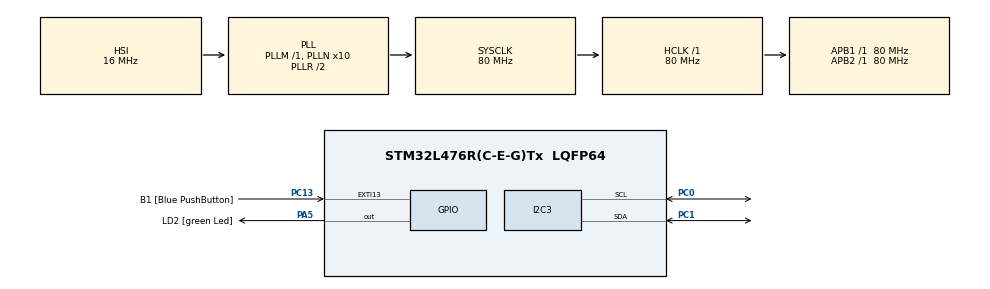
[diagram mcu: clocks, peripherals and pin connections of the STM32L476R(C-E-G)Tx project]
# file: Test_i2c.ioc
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Mcu.Family=STM32L4
Mcu.Name=STM32L476R(C-E-G)Tx
Mcu.Package=LQFP64
NVIC.PriorityGroup=NVIC_PRIORITYGROUP_4
PA13.GPIO_Label=TMS
PA13.Signal=SYS_JTMS-SWDIO
PA14.GPIO_Label=TCK
PA14.Signal=SYS_JTCK-SWCLK
PA2.GPIO_Label=USART_TX
PA2.GPIO_Mode=GPIO_MODE_AF_PP
PA2.GPIO_PuPd=GPIO_NOPULL
PA2.GPIO_Speed=GPIO_SPEED_FREQ_VERY_HIGH
PA2.Signal=USART2_TX
PA3.GPIO_Label=USART_RX
PA3.GPIO_Mode=GPIO_MODE_AF_PP
PA3.GPIO_PuPd=GPIO_NOPULL
PA3.GPIO_Speed=GPIO_SPEED_FREQ_VERY_HIGH
PA3.Signal=USART2_RX
PA5.GPIO_Label=LD2 [green Led]
PA5.GPIO_ModeDefaultOutputPP=GPIO_MODE_OUTPUT_PP
PA5.GPIO_PuPd=GPIO_NOPULL
PA5.GPIO_Speed=GPIO_SPEED_FREQ_LOW
PA5.Signal=GPIO_Output
PB3.GPIO_Label=SWO
PB3.Signal=SYS_JTDO-SWO
PC0.Mode=I2C
PC0.Signal=I2C3_SCL
PC1.Mode=I2C
PC1.Signal=I2C3_SDA
PC13.GPIO_Label=B1 [Blue PushButton]
PC13.GPIO_ModeDefaultEXTI=GPIO_MODE_IT_FALLING
PC13.GPIO_PuPd=GPIO_NOPULL
PC13.Signal=GPXTI13
PC14/OSC32_IN.Signal=RCC_OSC32_IN
PC15/OSC32_OUT.Signal=RCC_OSC32_OUT
PH0/OSC_IN.Signal=RCC_OSC_IN
PH1/OSC_OUT.Signal=RCC_OSC_OUT
ProjectManager.HeapSize=0x200
ProjectManager.StackSize=0x400
ProjectManager.TargetToolchain=SW4STM32
RCC.ADCFreq_Value=64000000
RCC.AHBFreq_Value=80000000
RCC.APB1Freq_Value=80000000
RCC.APB1TimFreq_Value=80000000
RCC.APB2Freq_Value=80000000
RCC.APB2TimFreq_Value=80000000
RCC.CortexFreq_Value=80000000
RCC.HCLKFreq_Value=80000000
RCC.HSE_VALUE=8000000
RCC.HSI_VALUE=16000000
RCC.LSE_VALUE=32768
RCC.MSI_VALUE=4000000
RCC.PLLN=10
RCC.PLLSourceVirtual=RCC_PLLSOURCE_HSI
RCC.PREFETCH_ENABLE=1
RCC.SYSCLKFreq_VALUE=80000000
RCC.SYSCLKSource=RCC_SYSCLKSOURCE_PLLCLK
RCC.USBFreq_Value=64000000
RCC.VCOOutputFreq_Value=160000000
board=NUCLEO-L476RG

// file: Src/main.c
/**
  ******************************************************************************
  * File Name          : main.c
  * Description        : Main program body
  ******************************************************************************
  *
  * COPYRIGHT(c) 2017 STMicroelectronics
  *
  * Redistribution and use in source and binary forms, with or without modification,
  * are permitted provided that the following conditions are met:
  *   1. Redistributions of source code must retain the above copyright notice,
  *      this list of conditions and the following disclaimer.
  *   2. Redistributions in binary form must reproduce the above copyright notice,
  *      this list of conditions and the following disclaimer in the documentation
  *      and/or other materials provided with the distribution.
  *   3. Neither the name of STMicroelectronics nor the names of its contributors
  *      may be used to endorse or promote products derived from this software
  *      without specific prior written permission.
  *
  * THIS SOFTWARE IS PROVIDED BY THE COPYRIGHT HOLDERS AND CONTRIBUTORS "AS IS"
  * AND ANY EXPRESS OR IMPLIED WARRANTIES, INCLUDING, BUT NOT LIMITED TO, THE
  * IMPLIED WARRANTIES OF MERCHANTABILITY AND FITNESS FOR A PARTICULAR PURPOSE ARE
  * DISCLAIMED. IN NO EVENT SHALL THE COPYRIGHT HOLDER OR CONTRIBUTORS BE LIABLE
  * FOR ANY DIRECT, INDIRECT, INCIDENTAL, SPECIAL, EXEMPLARY, OR CONSEQUENTIAL
  * DAMAGES (INCLUDING, BUT NOT LIMITED TO, PROCUREMENT OF SUBSTITUTE GOODS OR
  * SERVICES; LOSS OF USE, DATA, OR PROFITS; OR BUSINESS INTERRUPTION) HOWEVER
  * CAUSED AND ON ANY THEORY OF LIABILITY, WHETHER IN CONTRACT, STRICT LIABILITY,
  * OR TORT (INCLUDING NEGLIGENCE OR OTHERWISE) ARISING IN ANY WAY OUT OF THE USE
  * OF THIS SOFTWARE, EVEN IF ADVISED OF THE POSSIBILITY OF SUCH DAMAGE.
  *
  ******************************************************************************
  */
#include "main.h"
#include "stm32l4xx_hal.h"

I2C_HandleTypeDef hi2c3;

/* USER CODE BEGIN PV */
/* Private variables ---------------------------------------------------------*/

uint16_t address = 0x3C << 1;
// the memory buffer for the LCD

static char buffer[128 * 64 / 8] = {
0x00, 0x00, 0x00, 0x00, 0x00, 0x00, 0x00, 0x00, 0x00, 0x00, 0x00, 0x00, 0x00, 0x00, 0x00, 0x00,
0x00, 0x00, 0x00, 0x00, 0x00, 0x00, 0x00, 0x00, 0x00, 0x00, 0x00, 0x00, 0x00, 0x00, 0x00, 0x00,
0x00, 0x00, 0x00, 0x00, 0x00, 0x00, 0x00, 0x00, 0x00, 0x00, 0x00, 0x00, 0x00, 0x00, 0x00, 0x00,
0x00, 0x00, 0x00, 0x00, 0x00, 0x00, 0x00, 0x00, 0x00, 0x00, 0x00, 0x00, 0x00, 0x00, 0x00, 0x80,
0x80, 0x80, 0x00, 0x00, 0x00, 0x00, 0x00, 0x00, 0x00, 0x00, 0x00, 0x00, 0x00, 0x00, 0x00, 0x00,
0x00, 0x80, 0x80, 0xC0, 0xC0, 0x00, 0x00, 0x00, 0x00, 0x00, 0x00, 0x00, 0x00, 0x00, 0x00, 0x00,
0x00, 0x00, 0x00, 0x00, 0x00, 0x00, 0x00, 0x00, 0x00, 0x00, 0x00, 0x00, 0x00, 0x00, 0x00, 0x00,
0x00, 0x00, 0x00, 0x00, 0x00, 0x00, 0x00, 0x00, 0x00, 0x00, 0x00, 0x00, 0x00, 0x00, 0x00, 0x00,
0x00, 0x00, 0x00, 0x00, 0x00, 0x00, 0x00, 0x00, 0x00, 0x00, 0x00, 0x00, 0x00, 0x00, 0x00, 0x00,
0x00, 0x00, 0x00, 0x00, 0x80, 0xC0, 0xE0, 0xF0, 0xF8, 0xFC, 0xF8, 0xE0, 0x00, 0x00, 0x00, 0x00,
0x00, 0x00, 0x00, 0x00, 0x00, 0x00, 0x00, 0x00, 0x00, 0x00, 0x00, 0x00, 0x00, 0x80, 0x80, 0x80,
0x80, 0x80, 0x00, 0x80, 0x80, 0x00, 0x00, 0x00, 0x00, 0x80, 0x80, 0x80, 0x80, 0x80, 0x00, 0xFF,
0xFF, 0xFF, 0x00, 0x00, 0x00, 0x00, 0x80, 0x80, 0x80, 0x80, 0x00, 0x00, 0x80, 0x80, 0x00, 0x00,
0x80, 0xFF, 0xFF, 0x80, 0x80, 0x00, 0x80, 0x80, 0x00, 0x80, 0x80, 0x80, 0x80, 0x00, 0x80, 0x80,
0x00, 0x00, 0x00, 0x00, 0x00, 0x80, 0x80, 0x00, 0x00, 0x8C, 0x8E, 0x84, 0x00, 0x00, 0x80, 0xF8,
0xF8, 0xF8, 0x80, 0x00, 0x00, 0x00, 0x00, 0x00, 0x00, 0x00, 0x00, 0x00, 0x00, 0x00, 0x00, 0x00,
0xF0, 0xF0, 0xF0, 0xF0, 0xF0, 0xF0, 0xF0, 0xF0, 0xF0, 0xF0, 0xF0, 0xF0, 0xE0, 0xE0, 0xC0, 0x80,
0x00, 0xE0, 0xFC, 0xFE, 0xFF, 0xFF, 0xFF, 0x7F, 0xFF, 0xFF, 0xFF, 0xFF, 0xFF, 0x00, 0x00, 0x00,
0x00, 0x00, 0x00, 0x00, 0x00, 0x00, 0x00, 0x00, 0x00, 0x00, 0x00, 0xFE, 0xFF, 0xC7, 0x01, 0x01,
0x01, 0x01, 0x83, 0xFF, 0xFF, 0x00, 0x00, 0x7C, 0xFE, 0xC7, 0x01, 0x01, 0x01, 0x01, 0x83, 0xFF,
0xFF, 0xFF, 0x00, 0x38, 0xFE, 0xC7, 0x83, 0x01, 0x01, 0x01, 0x83, 0xC7, 0xFF, 0xFF, 0x00, 0x00,
0x01, 0xFF, 0xFF, 0x01, 0x01, 0x00, 0xFF, 0xFF, 0x07, 0x01, 0x01, 0x01, 0x00, 0x00, 0x7F, 0xFF,
0x80, 0x00, 0x00, 0x00, 0xFF, 0xFF, 0x7F, 0x00, 0x00, 0xFF, 0xFF, 0xFF, 0x00, 0x00, 0x01, 0xFF,
0xFF, 0xFF, 0x01, 0x00, 0x00, 0x00, 0x00, 0x00, 0x00, 0x00, 0x00, 0x00, 0x00, 0x00, 0x00, 0x00,
0x03, 0x0F, 0x3F, 0x7F, 0x7F, 0xFF, 0xFF, 0xFF, 0xFF, 0xFF, 0xFF, 0xFF, 0xE7, 0xC7, 0xC7, 0x8F,
0x8F, 0x9F, 0xBF, 0xFF, 0xFF, 0xC3, 0xC0, 0xF0, 0xFF, 0xFF, 0xFF, 0xFF, 0xFF, 0xFC, 0xFC, 0xFC,
0xFC, 0xFC, 0xFC, 0xFC, 0xFC, 0xF8, 0xF8, 0xF0, 0xF0, 0xE0, 0xC0, 0x00, 0x01, 0x03, 0x03, 0x03,
0x03, 0x03, 0x01, 0x03, 0x03, 0x00, 0x00, 0x00, 0x00, 0x01, 0x03, 0x03, 0x03, 0x03, 0x01, 0x01,
0x03, 0x01, 0x00, 0x00, 0x00, 0x01, 0x03, 0x03, 0x03, 0x03, 0x01, 0x01, 0x03, 0x03, 0x00, 0x00,
0x00, 0x03, 0x03, 0x00, 0x00, 0x00, 0x03, 0x03, 0x00, 0x00, 0x00, 0x00, 0x00, 0x00, 0x00, 0x01,
0x03, 0x03, 0x03, 0x03, 0x03, 0x01, 0x00, 0x00, 0x00, 0x01, 0x03, 0x01, 0x00, 0x00, 0x00, 0x03,
0x03, 0x01, 0x00, 0x00, 0x00, 0x00, 0x00, 0x00, 0x00, 0x00, 0x00, 0x00, 0x00, 0x00, 0x00, 0x00,
0x00, 0x00, 0x00, 0x80, 0xC0, 0xE0, 0xF0, 0xF9, 0xFF, 0xFF, 0xFF, 0xFF, 0xFF, 0x3F, 0x1F, 0x0F,
0x87, 0xC7, 0xF7, 0xFF, 0xFF, 0x1F, 0x1F, 0x3D, 0xFC, 0xF8, 0xF8, 0xF8, 0xF8, 0x7C, 0x7D, 0xFF,
0xFF, 0xFF, 0xFF, 0xFF, 0xFF, 0xFF, 0xFF, 0x7F, 0x3F, 0x0F, 0x07, 0x00, 0x30, 0x30, 0x00, 0x00,
0x00, 0x00, 0x00, 0x00, 0x00, 0x00, 0x00, 0x00, 0x00, 0x00, 0x00, 0x00, 0x00, 0x00, 0x00, 0x00,
0x00, 0x00, 0x00, 0x00, 0xFE, 0xFE, 0xFC, 0x00, 0x00, 0x00, 0x00, 0x00, 0x00, 0x00, 0x00, 0x00,
0x00, 0x00, 0x00, 0x00, 0x00, 0x00, 0x00, 0x00, 0x00, 0x00, 0x00, 0x00, 0x00, 0xE0, 0xC0, 0x00,
0x00, 0x00, 0x00, 0x00, 0x00, 0x00, 0x00, 0x00, 0x00, 0x00, 0x30, 0x30, 0x00, 0x00, 0x00, 0x00,
0x00, 0x00, 0x00, 0x00, 0x00, 0x00, 0x00, 0x00, 0x00, 0x00, 0x00, 0x00, 0x00, 0x00, 0x00, 0x00,
0x00, 0xC0, 0xFE, 0xFF, 0xFF, 0xFF, 0xFF, 0xFF, 0xFF, 0xFF, 0xFF, 0xFF, 0x7F, 0x7F, 0x3F, 0x1F,
0x0F, 0x07, 0x1F, 0x7F, 0xFF, 0xFF, 0xF8, 0xF8, 0xFF, 0xFF, 0xFF, 0xFF, 0xFF, 0xFE, 0xF8, 0xE0,
0x00, 0x00, 0x00, 0x01, 0x00, 0x00, 0x00, 0x00, 0x00, 0x00, 0x00, 0x00, 0xFE, 0xFE, 0x00, 0x00,
0x00, 0xFC, 0xFE, 0xFC, 0x0C, 0x06, 0x06, 0x0E, 0xFC, 0xF8, 0x00, 0x00, 0xF0, 0xF8, 0x1C, 0x0E,
0x06, 0x06, 0x06, 0x0C, 0xFF, 0xFF, 0xFF, 0x00, 0x00, 0xFE, 0xFE, 0x00, 0x00, 0x00, 0x00, 0xFC,
0xFE, 0xFC, 0x00, 0x18, 0x3C, 0x7E, 0x66, 0xE6, 0xCE, 0x84, 0x00, 0x00, 0x06, 0xFF, 0xFF, 0x06,
0x06, 0xFC, 0xFE, 0xFC, 0x0C, 0x06, 0x06, 0x06, 0x00, 0x00, 0xFE, 0xFE, 0x00, 0x00, 0xC0, 0xF8,
0xFC, 0x4E, 0x46, 0x46, 0x46, 0x4E, 0x7C, 0x78, 0x40, 0x18, 0x3C, 0x76, 0xE6, 0xCE, 0xCC, 0x80,
0x00, 0x00, 0x00, 0x00, 0x00, 0x00, 0x00, 0x00, 0x00, 0x00, 0x00, 0x00, 0x00, 0x00, 0x00, 0x00,
0x00, 0x00, 0x00, 0x00, 0x01, 0x07, 0x0F, 0x1F, 0x1F, 0x3F, 0x3F, 0x3F, 0x3F, 0x1F, 0x0F, 0x03,
0x00, 0x00, 0x00, 0x00, 0x00, 0x00, 0x00, 0x00, 0x00, 0x00, 0x00, 0x00, 0x0F, 0x0F, 0x00, 0x00,
0x00, 0x0F, 0x0F, 0x0F, 0x00, 0x00, 0x00, 0x00, 0x0F, 0x0F, 0x00, 0x00, 0x03, 0x07, 0x0E, 0x0C,
0x18, 0x18, 0x0C, 0x06, 0x0F, 0x0F, 0x0F, 0x00, 0x00, 0x01, 0x0F, 0x0E, 0x0C, 0x18, 0x0C, 0x0F,
0x07, 0x01, 0x00, 0x04, 0x0E, 0x0C, 0x18, 0x0C, 0x0F, 0x07, 0x00, 0x00, 0x00, 0x0F, 0x0F, 0x00,
0x00, 0x0F, 0x0F, 0x0F, 0x00, 0x00, 0x00, 0x00, 0x00, 0x00, 0x0F, 0x0F, 0x00, 0x00, 0x00, 0x07,
0x07, 0x0C, 0x0C, 0x18, 0x1C, 0x0C, 0x06, 0x06, 0x00, 0x04, 0x0E, 0x0C, 0x18, 0x0C, 0x0F, 0x07,
0x00, 0x00, 0x00, 0x00, 0x00, 0x00, 0x00, 0x00, 0x00, 0x00, 0x00, 0x00, 0x00, 0x00, 0x00, 0x00,
0x00, 0x00, 0x00, 0x00, 0x00, 0x00, 0x00, 0x00, 0x00, 0x00, 0x00, 0x00, 0x00, 0x00, 0x00, 0x00,
0x00, 0x00, 0x00, 0x00, 0x00, 0x00, 0x00, 0x00, 0x00, 0x00, 0x00, 0x00, 0x00, 0x00, 0x00, 0x00,
0x00, 0x00, 0x00, 0x00, 0x00, 0x00, 0x00, 0x00, 0x00, 0x00, 0x00, 0x00, 0x00, 0x00, 0x00, 0x00,
0x00, 0x00, 0x00, 0x00, 0x00, 0x00, 0x00, 0x00, 0x00, 0x00, 0x00, 0x00, 0x00, 0x00, 0x00, 0x00,
0x00, 0x00, 0x00, 0x00, 0x00, 0x00, 0x00, 0x00, 0x00, 0x00, 0x00, 0x00, 0x00, 0x00, 0x00, 0x00,
0x00, 0x00, 0x00, 0x00, 0x00, 0x00, 0x00, 0x00, 0x00, 0x00, 0x00, 0x00, 0x00, 0x00, 0x00, 0x00,
0x00, 0x00, 0x00, 0x00, 0x00, 0x00, 0x00, 0x00, 0x00, 0x00, 0x00, 0x00, 0x00, 0x00, 0x00, 0x00
};

/* USER CODE END PV */

void SystemClock_Config(void);
void Error_Handler(void);
static void MX_GPIO_Init(void);
static void MX_I2C3_Init(void);

/* USER CODE BEGIN PFP */
/* Private function prototypes -----------------------------------------------*/

/* USER CODE END PFP */

int main(void)
{

  /* MCU Configuration----------------------------------------------------------*/

  /* Reset of all peripherals, Initializes the Flash interface and the Systick. */
  HAL_Init();

  /* Configure the system clock */
  SystemClock_Config();

  /* Initialize all configured peripherals */
  MX_GPIO_Init();
  MX_I2C3_Init();
  LED_Init();

  /* USER CODE BEGIN 2 */
  LCD_Init();
  /* USER CODE END 2 */

  /* Infinite loop */
  /* USER CODE BEGIN WHILE */
  int i = 0;
  int j = 0;

  while (1)
  {
  /* USER CODE END WHILE */

  /* USER CODE BEGIN 3 */
	  if (HAL_I2C_IsDeviceReady(&hi2c3, (uint16_t) address, 3, 1000) == HAL_OK)
	  {
		  LED_On();
		  LCD_dim(0);
		  //i = (~i) & 0x01;
		  if (j == 0)
		  {
			  LCD_display();
			  //LCD_startscrollright(0x00, 0x0F);
		  }
		  j++;
	  }
	  else
	  {
		  LED_Off();
	  }

	  if (j == 1)
	  {
		  LCD_clearDisplay();
		  //int y = 20;
		  for (int x=20;x<100;x++)
		  {
			  for (int y=20; y<40; y++)
			  {
				  LCD_drawPixel(x,y,WHITE);
			  }

		  }
		  i++;

		  j = 0;
	  }

	  HAL_Delay(20);

  }
  /* USER CODE END 3 */

}

void LCD_display(void)
{
  char data[7] = {0x00, 0x21,
		  	  	  0x00,
				  0x7F,
				  0x22,
				  0x00,
				  0x07};
  char temp[128*64/8];

  for (int i = 0; i < 7; i++)
  {
	  temp[i] = data[i];
  }
  HAL_I2C_Master_Transmit(&hi2c3, (uint16_t) address, (uint8_t *) temp, 7, 1000);
  temp[0] = 0x40;
  for (int i=1; i<(128*64/8); i++)
  {
   	temp[i] = buffer[i];
  }
  HAL_I2C_Master_Transmit(&hi2c3, (uint16_t) address, (uint8_t *) temp, 128*64/8, 1000);

/*
  for (int i=0; i<(128*64/8); i++)
  {
      // send a bunch of data in one xmission
      temp[0] = 0x40;
      //HAL_I2C_Master_Transmit(&hi2c3, (uint16_t) address, (uint8_t *) data, 1, 1000);
      for (int x=1; x<17; x++)
      {
    	temp[x] = buffer[i];
    	HAL_I2C_Master_Transmit(&hi2c3, (uint16_t) address, (uint8_t *) temp, 17, 1000);
        i++;
      }
      i--;
  }
 */
 }

// the most basic function, set a single pixel
void LCD_drawPixel(int x, int y, int color)
{
  if ((x < 0) || (x >= 128) || (y < 0) || (y >= 64))
    return;

  // check rotation, move pixel around if necessary
//  switch (getRotation()) {
//  case 1:
//    ssd1306_swap(x, y);
//    x = WIDTH - x - 1;
//    break;
//  case 2:
    x = 128 - x - 1;
    y = 64 - y - 1;
//    break;
//  case 3:
//    ssd1306_swap(x, y);
//    y = HEIGHT - y - 1;
//    break;
//  }

  // x is which column
    switch (color)
    {
      case WHITE:   buffer[x+ (y/8)*128] |=  (1 << (y&7)); break;
      case BLACK:   buffer[x+ (y/8)*128] &= ~(1 << (y&7)); break;
      case INVERSE: buffer[x+ (y/8)*128] ^=  (1 << (y&7)); break;
    }

}

// clear everything
void LCD_clearDisplay(void)
{
  memset(buffer, 0, (128*64/8));
}

void LCD_Invert(char i)
{
	char data[2] = {0x00, 0x00};
	data[1] = i==1?0xA7:0xA6;

	HAL_I2C_Master_Transmit(&hi2c3, (uint16_t) address, (uint8_t *) data, 2, 1000);
}

void LCD_Init(void)
{
	  // Init sequence
	  char data[] = {0xAE,0xD5, 0x80, 0xA8,
		         0x3F, 0xD3, 0x00, 0x40,
				 0x8D, 0x14, 0x20, 0x00,
				 0xA0 | 0x01, 0xC8, 0xDA,
				 0x12, 0x81, 0xCF, 0xd9,
				 0xF1, 0xDB, 0x40, 0xA4,
				 0xA6, 0x2E, 0xAF};
	  char temp[2] = {0x00, 0x00};

	  for (int i=0; i<26; i++)
	  {
		  temp[1] = data[i];
		  HAL_I2C_Master_Transmit(&hi2c3, (uint16_t) address, (uint8_t *) temp, 2, 1000);
	  }
}

// Dim the display
// dim = true: display is dimmed
// dim = false: display is normal
void LCD_dim(char dim)
{
	char temp[3] = {0x00, 0x81, 0x00};

	if (dim)
	{
		temp[2] = 0x00; // Dimmed display
	}
	else
	{
		temp[2] = 0x9F;
	}
	// the range of contrast to too small to be really useful
	// it is useful to dim the display
	HAL_I2C_Master_Transmit(&hi2c3, (uint16_t) address, (uint8_t *) temp, 3, 1000);
}

// startscrollright
// Activate a right handed scroll for rows start through stop
// Hint, the display is 16 rows tall. To scroll the whole display, run:
// display.scrollright(0x00, 0x0F)
void LCD_startscrollright(char start, char stop)
{
	char data[] = {0x26, 0x00, start, 0x07, stop, 0x00, 0xFF, 0x2F};
	char temp[2] = {0x00, 0x00};
	for (int i=0; i<8; i++)
	{
	  temp[1] = data[i];
	  HAL_I2C_Master_Transmit(&hi2c3, (uint16_t) address, (uint8_t *) temp, 2, 1000);
	}
}

// startscrollleft
// Activate a right handed scroll for rows start through stop
// Hint, the display is 16 rows tall. To scroll the whole display, run:
// display.scrollright(0x00, 0x0F)
void LCD_startscrollleft(char start, char stop)
{
	char data[] = {0x27, 0x00, start, 0x00, stop, 0x00, 0xFF, 0x2F};
	char temp[2] = {0x00, 0x00};
	for (int i=0; i<8; i++)
	{
	  temp[1] = data[i];
	  HAL_I2C_Master_Transmit(&hi2c3, (uint16_t) address, (uint8_t *) temp, 2, 1000);
	}
}

/** System Clock Configuration
*/
void SystemClock_Config(void)
{

  RCC_OscInitTypeDef RCC_OscInitStruct;
  RCC_ClkInitTypeDef RCC_ClkInitStruct;
  RCC_PeriphCLKInitTypeDef PeriphClkInit;

    /**Initializes the CPU, AHB and APB busses clocks
    */
  RCC_OscInitStruct.OscillatorType = RCC_OSCILLATORTYPE_HSI;
  RCC_OscInitStruct.HSIState = RCC_HSI_ON;
  RCC_OscInitStruct.HSICalibrationValue = 16;
  RCC_OscInitStruct.PLL.PLLState = RCC_PLL_ON;
  RCC_OscInitStruct.PLL.PLLSource = RCC_PLLSOURCE_HSI;
  RCC_OscInitStruct.PLL.PLLM = 1;
  RCC_OscInitStruct.PLL.PLLN = 10;
  RCC_OscInitStruct.PLL.PLLP = RCC_PLLP_DIV7;
  RCC_OscInitStruct.PLL.PLLQ = RCC_PLLQ_DIV2;
  RCC_OscInitStruct.PLL.PLLR = RCC_PLLR_DIV2;
  if (HAL_RCC_OscConfig(&RCC_OscInitStruct) != HAL_OK)
  {
    Error_Handler();
  }

    /**Initializes the CPU, AHB and APB busses clocks
    */
  RCC_ClkInitStruct.ClockType = RCC_CLOCKTYPE_HCLK|RCC_CLOCKTYPE_SYSCLK
                              |RCC_CLOCKTYPE_PCLK1|RCC_CLOCKTYPE_PCLK2;
  RCC_ClkInitStruct.SYSCLKSource = RCC_SYSCLKSOURCE_PLLCLK;
  RCC_ClkInitStruct.AHBCLKDivider = RCC_SYSCLK_DIV1;
  RCC_ClkInitStruct.APB1CLKDivider = RCC_HCLK_DIV1;
  RCC_ClkInitStruct.APB2CLKDivider = RCC_HCLK_DIV1;

  if (HAL_RCC_ClockConfig(&RCC_ClkInitStruct, FLASH_LATENCY_4) != HAL_OK)
  {
    Error_Handler();
  }

  PeriphClkInit.PeriphClockSelection = RCC_PERIPHCLK_I2C3;
  PeriphClkInit.I2c3ClockSelection = RCC_I2C3CLKSOURCE_PCLK1;
  if (HAL_RCCEx_PeriphCLKConfig(&PeriphClkInit) != HAL_OK)
  {
    Error_Handler();
  }

    /**Configure the main internal regulator output voltage
    */
  if (HAL_PWREx_ControlVoltageScaling(PWR_REGULATOR_VOLTAGE_SCALE1) != HAL_OK)
  {
    Error_Handler();
  }

    /**Configure the Systick interrupt time
    */
  HAL_SYSTICK_Config(HAL_RCC_GetHCLKFreq()/1000);

    /**Configure the Systick
    */
  HAL_SYSTICK_CLKSourceConfig(SYSTICK_CLKSOURCE_HCLK);

  /* SysTick_IRQn interrupt configuration */
  HAL_NVIC_SetPriority(SysTick_IRQn, 0, 0);
}

/* I2C3 init function */
static void MX_I2C3_Init(void)
{

  hi2c3.Instance = I2C3;
  hi2c3.Init.Timing = 0x10909CEC;
  hi2c3.Init.OwnAddress1 = 0;
  hi2c3.Init.AddressingMode = I2C_ADDRESSINGMODE_7BIT;
  hi2c3.Init.DualAddressMode = I2C_DUALADDRESS_DISABLE;
  hi2c3.Init.OwnAddress2 = 0;
  hi2c3.Init.OwnAddress2Masks = I2C_OA2_NOMASK;
  hi2c3.Init.GeneralCallMode = I2C_GENERALCALL_DISABLE;
  hi2c3.Init.NoStretchMode = I2C_NOSTRETCH_DISABLE;
  if (HAL_I2C_Init(&hi2c3) != HAL_OK)
  {
    Error_Handler();
  }

    /**Configure Analogue filter
    */
  if (HAL_I2CEx_ConfigAnalogFilter(&hi2c3, I2C_ANALOGFILTER_ENABLE) != HAL_OK)
  {
    Error_Handler();
  }

}

/** Configure pins as
        * Analog
        * Input
        * Output
        * EVENT_OUT
        * EXTI
     PA2   ------> USART2_TX
     PA3   ------> USART2_RX
*/
static void MX_GPIO_Init(void)
{

  GPIO_InitTypeDef GPIO_InitStruct;

  /* GPIO Ports Clock Enable */
  __HAL_RCC_GPIOC_CLK_ENABLE();
  __HAL_RCC_GPIOH_CLK_ENABLE();
  __HAL_RCC_GPIOA_CLK_ENABLE();
  __HAL_RCC_GPIOB_CLK_ENABLE();

  /*Configure GPIO pin Output Level */
  HAL_GPIO_WritePin(LD2_GPIO_Port, LD2_Pin, GPIO_PIN_RESET);

  /*Configure GPIO pin : B1_Pin */
  GPIO_InitStruct.Pin = B1_Pin;
  GPIO_InitStruct.Mode = GPIO_MODE_IT_FALLING;
  GPIO_InitStruct.Pull = GPIO_NOPULL;
  HAL_GPIO_Init(B1_GPIO_Port, &GPIO_InitStruct);

  /*Configure GPIO pins : USART_TX_Pin USART_RX_Pin */
  GPIO_InitStruct.Pin = USART_TX_Pin|USART_RX_Pin;
  GPIO_InitStruct.Mode = GPIO_MODE_AF_PP;
  GPIO_InitStruct.Pull = GPIO_NOPULL;
  GPIO_InitStruct.Speed = GPIO_SPEED_FREQ_VERY_HIGH;
  GPIO_InitStruct.Alternate = GPIO_AF7_USART2;
  HAL_GPIO_Init(GPIOA, &GPIO_InitStruct);

  /*Configure GPIO pin : LD2_Pin */
  GPIO_InitStruct.Pin = LD2_Pin;
  GPIO_InitStruct.Mode = GPIO_MODE_OUTPUT_PP;
  GPIO_InitStruct.Pull = GPIO_NOPULL;
  GPIO_InitStruct.Speed = GPIO_SPEED_FREQ_LOW;
  HAL_GPIO_Init(LD2_GPIO_Port, &GPIO_InitStruct);

}

void Error_Handler(void)
{
  while(1)
  {
  }
}

void LED_Init(void)
{
  GPIO_InitTypeDef  gpioinitstruct = {0};

  /* Enable the GPIO_LED Clock */
  __HAL_RCC_GPIOA_CLK_ENABLE();

  /* Configure the GPIO_LED pin */
  gpioinitstruct.Pin   = GPIO_PIN_4;
  gpioinitstruct.Mode  = GPIO_MODE_OUTPUT_PP;
  gpioinitstruct.Pull  = GPIO_NOPULL;
  gpioinitstruct.Speed = GPIO_SPEED_FREQ_HIGH;
  HAL_GPIO_Init(GPIOA, &gpioinitstruct);
}

void LED_On(void)
{
  HAL_GPIO_WritePin(GPIOA, GPIO_PIN_4, GPIO_PIN_SET);
}

void LED_Off(void)
{
  HAL_GPIO_WritePin(GPIOA, GPIO_PIN_4, GPIO_PIN_RESET);
}

/************************ (C) COPYRIGHT STMicroelectronics *****END OF FILE****/
